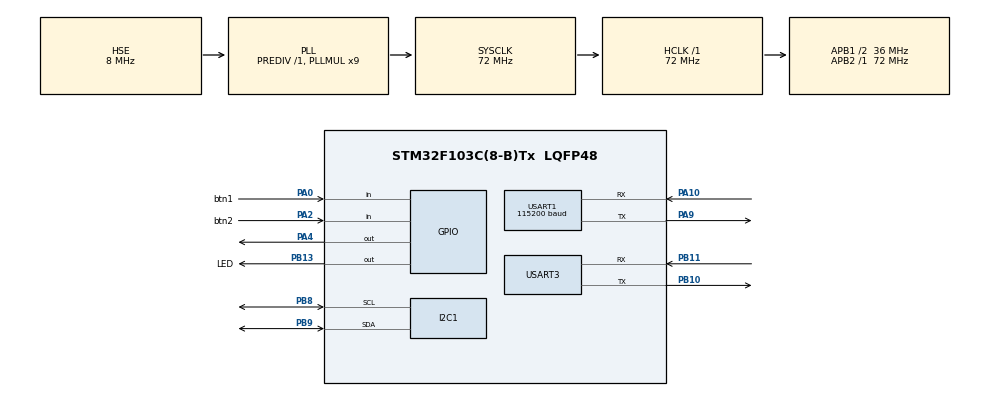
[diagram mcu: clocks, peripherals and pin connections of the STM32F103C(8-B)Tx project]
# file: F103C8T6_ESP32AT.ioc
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Dma.I2C1_TX.2.Direction=DMA_MEMORY_TO_PERIPH
Dma.I2C1_TX.2.Instance=DMA1_Channel6
Dma.I2C1_TX.2.MemDataAlignment=DMA_MDATAALIGN_BYTE
Dma.I2C1_TX.2.MemInc=DMA_MINC_ENABLE
Dma.I2C1_TX.2.Mode=DMA_NORMAL
Dma.I2C1_TX.2.PeriphDataAlignment=DMA_PDATAALIGN_BYTE
Dma.I2C1_TX.2.PeriphInc=DMA_PINC_DISABLE
Dma.I2C1_TX.2.Priority=DMA_PRIORITY_LOW
Dma.Request0=USART1_RX
Dma.Request1=USART1_TX
Dma.Request2=I2C1_TX
Dma.Request3=USART3_RX
Dma.Request4=USART3_TX
Dma.USART1_RX.0.Direction=DMA_PERIPH_TO_MEMORY
Dma.USART1_RX.0.Instance=DMA1_Channel5
Dma.USART1_RX.0.MemDataAlignment=DMA_MDATAALIGN_BYTE
Dma.USART1_RX.0.MemInc=DMA_MINC_ENABLE
Dma.USART1_RX.0.Mode=DMA_NORMAL
Dma.USART1_RX.0.PeriphDataAlignment=DMA_PDATAALIGN_BYTE
Dma.USART1_RX.0.PeriphInc=DMA_PINC_DISABLE
Dma.USART1_RX.0.Priority=DMA_PRIORITY_LOW
Dma.USART1_TX.1.Direction=DMA_MEMORY_TO_PERIPH
Dma.USART1_TX.1.Instance=DMA1_Channel4
Dma.USART1_TX.1.MemDataAlignment=DMA_MDATAALIGN_BYTE
Dma.USART1_TX.1.MemInc=DMA_MINC_ENABLE
Dma.USART1_TX.1.Mode=DMA_NORMAL
Dma.USART1_TX.1.PeriphDataAlignment=DMA_PDATAALIGN_BYTE
Dma.USART1_TX.1.PeriphInc=DMA_PINC_DISABLE
Dma.USART1_TX.1.Priority=DMA_PRIORITY_LOW
Dma.USART3_RX.3.Direction=DMA_PERIPH_TO_MEMORY
Dma.USART3_RX.3.Instance=DMA1_Channel3
Dma.USART3_RX.3.MemDataAlignment=DMA_MDATAALIGN_BYTE
Dma.USART3_RX.3.MemInc=DMA_MINC_ENABLE
Dma.USART3_RX.3.Mode=DMA_NORMAL
Dma.USART3_RX.3.PeriphDataAlignment=DMA_PDATAALIGN_BYTE
Dma.USART3_RX.3.PeriphInc=DMA_PINC_DISABLE
Dma.USART3_RX.3.Priority=DMA_PRIORITY_MEDIUM
Dma.USART3_TX.4.Direction=DMA_MEMORY_TO_PERIPH
Dma.USART3_TX.4.Instance=DMA1_Channel2
Dma.USART3_TX.4.MemDataAlignment=DMA_MDATAALIGN_BYTE
Dma.USART3_TX.4.MemInc=DMA_MINC_ENABLE
Dma.USART3_TX.4.Mode=DMA_NORMAL
Dma.USART3_TX.4.PeriphDataAlignment=DMA_PDATAALIGN_BYTE
Dma.USART3_TX.4.PeriphInc=DMA_PINC_DISABLE
Dma.USART3_TX.4.Priority=DMA_PRIORITY_MEDIUM
I2C1.I2C_Mode=I2C_Fast
Mcu.Family=STM32F1
Mcu.Name=STM32F103C(8-B)Tx
Mcu.Package=LQFP48
NVIC.DMA1_Channel2_IRQn=true\:0\:0\:false\:false\:true\:false\:true\:true
NVIC.DMA1_Channel3_IRQn=true\:0\:0\:false\:false\:true\:false\:true\:true
NVIC.DMA1_Channel4_IRQn=true\:0\:0\:false\:false\:true\:false\:true\:true
NVIC.DMA1_Channel5_IRQn=true\:0\:0\:false\:false\:true\:false\:true\:true
NVIC.DMA1_Channel6_IRQn=true\:0\:0\:false\:false\:true\:false\:true\:true
NVIC.I2C1_ER_IRQn=true\:0\:0\:false\:false\:true\:true\:true\:true
NVIC.I2C1_EV_IRQn=true\:0\:0\:false\:false\:true\:true\:true\:true
NVIC.PriorityGroup=NVIC_PRIORITYGROUP_4
NVIC.TIM2_IRQn=true\:0\:0\:false\:false\:true\:true\:true\:true
NVIC.USART1_IRQn=true\:0\:0\:false\:false\:true\:true\:true\:true
NVIC.USART3_IRQn=true\:0\:0\:false\:false\:true\:true\:true\:true
PA0-WKUP.GPIO_Label=btn1
PA0-WKUP.GPIO_PuPd=GPIO_PULLUP
PA0-WKUP.Signal=GPIO_Input
PA10.Mode=Asynchronous
PA10.Signal=USART1_RX
PA13.Mode=Serial_Wire
PA13.Signal=SYS_JTMS-SWDIO
PA14.Mode=Serial_Wire
PA14.Signal=SYS_JTCK-SWCLK
PA2.GPIO_Label=btn2
PA2.GPIO_PuPd=GPIO_PULLUP
PA2.Signal=GPIO_Input
PA4.GPIO_ModeDefaultOutputPP=GPIO_MODE_OUTPUT_PP
PA4.GPIO_Speed=GPIO_SPEED_FREQ_HIGH
PA4.PinState=GPIO_PIN_SET
PA4.Signal=GPIO_Output
PA9.Mode=Asynchronous
PA9.Signal=USART1_TX
PB10.Mode=Asynchronous
PB10.Signal=USART3_TX
PB11.Mode=Asynchronous
PB11.Signal=USART3_RX
PB13.GPIO_Label=LED
PB13.GPIO_ModeDefaultOutputPP=GPIO_MODE_OUTPUT_PP
PB13.GPIO_PuPd=GPIO_PULLDOWN
PB13.PinState=GPIO_PIN_RESET
PB13.Signal=GPIO_Output
PB8.Mode=I2C
PB8.Signal=I2C1_SCL
PB9.Mode=I2C
PB9.Signal=I2C1_SDA
PC14-OSC32_IN.Mode=LSE-External-Oscillator
PC14-OSC32_IN.Signal=RCC_OSC32_IN
PC15-OSC32_OUT.Mode=LSE-External-Oscillator
PC15-OSC32_OUT.Signal=RCC_OSC32_OUT
PD0-OSC_IN.Mode=HSE-External-Oscillator
PD0-OSC_IN.Signal=RCC_OSC_IN
PD1-OSC_OUT.Mode=HSE-External-Oscillator
PD1-OSC_OUT.Signal=RCC_OSC_OUT
ProjectManager.HeapSize=0x200
ProjectManager.StackSize=0x400
ProjectManager.TargetToolchain=STM32CubeIDE
RCC.AHBFreq_Value=72000000
RCC.APB1CLKDivider=RCC_HCLK_DIV2
RCC.APB1Freq_Value=36000000
RCC.APB1TimFreq_Value=72000000
RCC.APB2Freq_Value=72000000
RCC.APB2TimFreq_Value=72000000
RCC.HCLKFreq_Value=72000000
RCC.PLLMUL=RCC_PLL_MUL9
RCC.PLLSourceVirtual=RCC_PLLSOURCE_HSE
RCC.SYSCLKFreq_VALUE=72000000
RCC.SYSCLKSource=RCC_SYSCLKSOURCE_PLLCLK
RCC.USBFreq_Value=72000000
TIM2.Period=10000-1
TIM2.Prescaler=7200-1
USART1.BaudRate=115200
USART1.VirtualMode=VM_ASYNC
USART3.VirtualMode=VM_ASYNC
VP_TIM2_VS_ClockSourceINT.Mode=Internal
board=custom

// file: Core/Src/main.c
/* USER CODE BEGIN Header */
/**
  ******************************************************************************
  * @file           : main.c
  * @brief          : Main program body
  ******************************************************************************
  * @attention
  *
  * Copyright (c) 2025 STMicroelectronics.
  * All rights reserved.
  *
  * This software is licensed under terms that can be found in the LICENSE file
  * in the root directory of this software component.
  * If no LICENSE file comes with this software, it is provided AS-IS.
  *
  ******************************************************************************
  */
/* USER CODE END Header */
#include "main.h"
#include "dma.h"
#include "i2c.h"
#include "tim.h"
#include "usart.h"
#include "gpio.h"

/* USER CODE BEGIN Includes */
#include "string.h"
#include"../inc/retarget.h"		//printf函数重映射
#include "../../User/OLED/oled.h"
#include "../../User/Key/Key.h"
#include "../../User/ESP32_AT/ESP32_UART.h"
#include "../../User/ESP32_AT/ESP32_WiFi.h"
#include "../../User/ESP32_AT/ESP32_MQTT.h"
#include "../../User/ESP32_AT/Timestamp.h"
#include "../../User/dht11/dht11_MQTT.h"

/* USER CODE END Includes */

void SystemClock_Config(void);

/* USER CODE BEGIN 0 */

//*==========================================传感器数组==========================================*//
uint8_t DHT11time = 0;
char humitureDATA[25] = {0};//存放传感器显示内容

//*==========================================LED==========================================*//
uint8_t LED_State = 0;

//*==========================================时间戳获取==========================================*//
uint32_t Timestamp = 0;
uint8_t updatetime = 0;
char TimestampDATA[25] = {0};
uint8_t stop = 0;

//*==========================================模块状态==========================================*//
char ESP_State[25] = {0};

/*实例化按钮*/
Button btn1;
Button btn2;

/*点击事件*/
/*================btn1========================*/
void btn1_single_click(Button* btn) {
	printf("\r\nbtn1_single_click\r\n");
    // 单击处理

	WiFi_DisConnect();

}

void btn1_double_click(Button* btn) {
	printf("\r\nbtn1_double_click\r\n");
    // 双击处理

	WiFi_Connect(Wifi_SSID, Wifi_PWD);
}

void btn1_triple_click(Button* btn) {
	printf("\r\nbtn1_triple_click\r\n");
    // 三击处理

}
void btn1_long_click(Button* btn) {
	printf("\r\nbtn1_long_click\r\n");
    // 长按处理

	ESP32_UART_Init(&huart3);
}

/*================btn2========================*/
void btn2_single_click(Button* btn) {
	printf("\r\nbtn2_single_click\r\n");
    // 单击处理
	MQTT_DisConnect();

}

void btn2_double_click(Button* btn) {
	printf("\r\nbtn2_double_click\r\n");
    // 双击处理
	MQTT_Connect(3);
}

void btn2_triple_click(Button* btn) {
	printf("\r\nbtn2_triple_click\r\n");
    // 三击处理

}
void btn2_long_click(Button* btn) {
	printf("\r\nbtn2_long_click\r\n");
    // 长按处理

}

uint16_t fps = 0, fps_max = 0;
char buffer[25] = {0};//用于格式化显示

//重定义'定时器周期回调'函数
void HAL_TIM_PeriodElapsedCallback(TIM_HandleTypeDef *htim){	//1S周期回调
	if(htim == &htim2){
		if(fps_max - fps < -1 || fps_max - fps > 1)
		{
			fps_max = fps;
		}
		fps = 0;stop = 0;
		updatetime++;
		DHT11time++;
	}
}

extern DMA_HandleTypeDef hdma_usart1_rx;//声明外部句柄
char receivData[50] = {0};//存放接收内容(记得初始化)
uint8_t dataReady;//发送标志位

//重定义'串口事件回调'函数
void HAL_UARTEx_RxEventCallback(UART_HandleTypeDef *huart, uint16_t Size){
	if(huart == &huart1){
		dataReady = 1;//在主函数里处理发送

		//处理数据...

#if(ATEtoUART1 == 1)
		printf("\r\nRx:InU1\r\n");
#endif
		HAL_UARTEx_ReceiveToIdle_DMA(&huart1, (uint8_t*)receivData, 50);
		__HAL_DMA_DISABLE_IT(&hdma_usart1_rx,DMA_IT_HT);//关闭DMA接收过半中断
	}

	ESP32_RxCpltHandle(huart,Size);//处理ESP32回传数据
}

void HAL_UART_TxCpltCallback(UART_HandleTypeDef *huart)
{
	//ESP32发送完成处理
	ESP32_TxCpltHandle(huart);
}

/* USER CODE END 0 */

int main(void)
{

  /* MCU Configuration--------------------------------------------------------*/

  /* Reset of all peripherals, Initializes the Flash interface and the Systick. */
  HAL_Init();

  /* Configure the system clock */
  SystemClock_Config();

  /* Initialize all configured peripherals */
  MX_GPIO_Init();
  MX_DMA_Init();
  MX_USART1_UART_Init();
  MX_I2C1_Init();
  MX_TIM2_Init();
  MX_USART3_UART_Init();
  /* USER CODE BEGIN 2 */
  //*==========================================基础功能初始化==========================================*//
  RetargetInit(&huart1);//将printf()函数映射到UART1串口上
  OLED_Init();

  //初始化按键
  Button_Init(&btn1,btn1_GPIO_Port,btn1_Pin,GPIO_PIN_RESET);
  btn1.SinglePressHandler = btn1_single_click;
  btn1.DoublePressHandler = btn1_double_click;
  btn1.TriplePressHandler = btn1_triple_click;
  btn1.LongPressHandler = btn1_long_click;
  Button_Init(&btn2,btn2_GPIO_Port,btn2_Pin,GPIO_PIN_RESET);
  btn2.SinglePressHandler = btn2_single_click;
  btn2.DoublePressHandler = btn2_double_click;
  btn2.TriplePressHandler = btn2_triple_click;
  btn2.LongPressHandler = btn2_long_click;

  //*==========================================ESP32初始化==========================================*//
  if(!ESP32_UART_Init(&huart3)){//通信初始化

	  ESP32_WiFi_Init(3);//WiFi连接
	  ESP32_MQTT_Init(3);//MQTT信息初始化
	  MQTT_Connect(3);//连接OneNET
	  SetServer(3);//SNTP服务器
	  if(ESP32_MQTT.MQTT_state == MQTT_connected){
		  MQTT_Subscribe(2,Info_Topic,0);
		  MQTT_Subscribe(2,subscribe_Topic,0);
	  }
  }

  //*==========================================传感器初始化==========================================*//
  DHT11_Init ();
  dht11_MQTTInit();

  //*==========================================片上功能开启==========================================*//
  HAL_UARTEx_ReceiveToIdle_DMA(&huart1, (uint8_t*)receivData, 50);//开启接收，末参数为最大长度
  __HAL_DMA_DISABLE_IT(&hdma_usart1_rx,DMA_IT_HT);//关闭DMA接收过半中断

  HAL_TIM_Base_Start_IT(&htim2);//开启定时

  /* USER CODE END 2 */

  /* Infinite loop */
  /* USER CODE BEGIN WHILE */
  while (1)
  {
	  if (dataReady) {
		  // 处理activeBuffer中的数据
		  HAL_UART_Transmit_DMA(&huart1, (uint8_t*)receivData, strlen(receivData));
		  dataReady = 0;
	  }

	  if(((updatetime%1) == 0)&&stop==0){
		  printf("\r\nCheckSET");
		  stop = 1;
		  if(( LED_State = MQTT_Check_PropertySet("+MQTTSUBRECV:") )){
			  if(LED_State == 1){
				  HAL_GPIO_WritePin(LED_GPIO_Port, LED_Pin, GPIO_PIN_SET);
				  printf("\r\nture");
			  }
			  else if(LED_State == 2){
				  HAL_GPIO_WritePin(LED_GPIO_Port, LED_Pin, GPIO_PIN_RESET);
				  printf("\r\nfalse");
			  }
		  }
	  }

	  if((updatetime>=6)&&(ESP_time.ServerON)){

		  GET_Time(500,3);//更新时间
		  Timestamp = cst_to_unix(&ESP_time);
#if(ATEtoUART1 == 1)
		  printf("\r\nTime:%lu",Timestamp);
#endif
		  updatetime = 0;
	  }

	  if((DHT11time>=6)){
		  //读取传感器值,值在humiture数组里
		  DHT11_ReadData(humiture);
		  if(ESP32_MQTT.MQTT_state==MQTT_connected){
			dht11_MQTT_updataANDpublish(Sensor_dht11,humiture);
		  }
		  DHT11time = 0;
	  }

	  Button_Update(&btn1);
	  Button_Update(&btn2);
	//dosomething...

	//显示
	OLED_NewFrame();
	sprintf(buffer,"%u %u S", fps_max, fps);
	sprintf(humitureDATA,"T:%02d H:%02d", humiture[1], humiture[0]);
	sprintf(TimestampDATA,"%lu",Timestamp);//显示时间戳
	sprintf(ESP_State,"Cm%d WF%d MQ%d",ESP32_UART.Cmd_State,ESP32_WiFi.WiFi_state,ESP32_MQTT.MQTT_state);//显示状态
	OLED_PrintASCIIString(0, 0, buffer, &afont16x8, OLED_COLOR_NORMAL);
	OLED_PrintASCIIString(0, 16, humitureDATA, &afont16x8, OLED_COLOR_NORMAL);
	OLED_PrintASCIIString(0, 32, TimestampDATA, &afont16x8, OLED_COLOR_NORMAL);//显示时间戳
	OLED_PrintASCIIString(0, 48, ESP_State, &afont16x8, OLED_COLOR_NORMAL);//显示状态
	OLED_ShowFrame();
	fps++;//每刷新一帧++

    /* USER CODE END WHILE */

  }
}

void SystemClock_Config(void)
{
  RCC_OscInitTypeDef RCC_OscInitStruct = {0};
  RCC_ClkInitTypeDef RCC_ClkInitStruct = {0};

  /** Initializes the RCC Oscillators according to the specified parameters
  * in the RCC_OscInitTypeDef structure.
  */
  RCC_OscInitStruct.OscillatorType = RCC_OSCILLATORTYPE_HSE;
  RCC_OscInitStruct.HSEState = RCC_HSE_ON;
  RCC_OscInitStruct.HSEPredivValue = RCC_HSE_PREDIV_DIV1;
  RCC_OscInitStruct.HSIState = RCC_HSI_ON;
  RCC_OscInitStruct.PLL.PLLState = RCC_PLL_ON;
  RCC_OscInitStruct.PLL.PLLSource = RCC_PLLSOURCE_HSE;
  RCC_OscInitStruct.PLL.PLLMUL = RCC_PLL_MUL9;
  if (HAL_RCC_OscConfig(&RCC_OscInitStruct) != HAL_OK)
  {
    Error_Handler();
  }

  /** Initializes the CPU, AHB and APB buses clocks
  */
  RCC_ClkInitStruct.ClockType = RCC_CLOCKTYPE_HCLK|RCC_CLOCKTYPE_SYSCLK
                              |RCC_CLOCKTYPE_PCLK1|RCC_CLOCKTYPE_PCLK2;
  RCC_ClkInitStruct.SYSCLKSource = RCC_SYSCLKSOURCE_PLLCLK;
  RCC_ClkInitStruct.AHBCLKDivider = RCC_SYSCLK_DIV1;
  RCC_ClkInitStruct.APB1CLKDivider = RCC_HCLK_DIV2;
  RCC_ClkInitStruct.APB2CLKDivider = RCC_HCLK_DIV1;

  if (HAL_RCC_ClockConfig(&RCC_ClkInitStruct, FLASH_LATENCY_2) != HAL_OK)
  {
    Error_Handler();
  }
}

void Error_Handler(void)
{
  __disable_irq();
  while (1)
  {
  }
}
